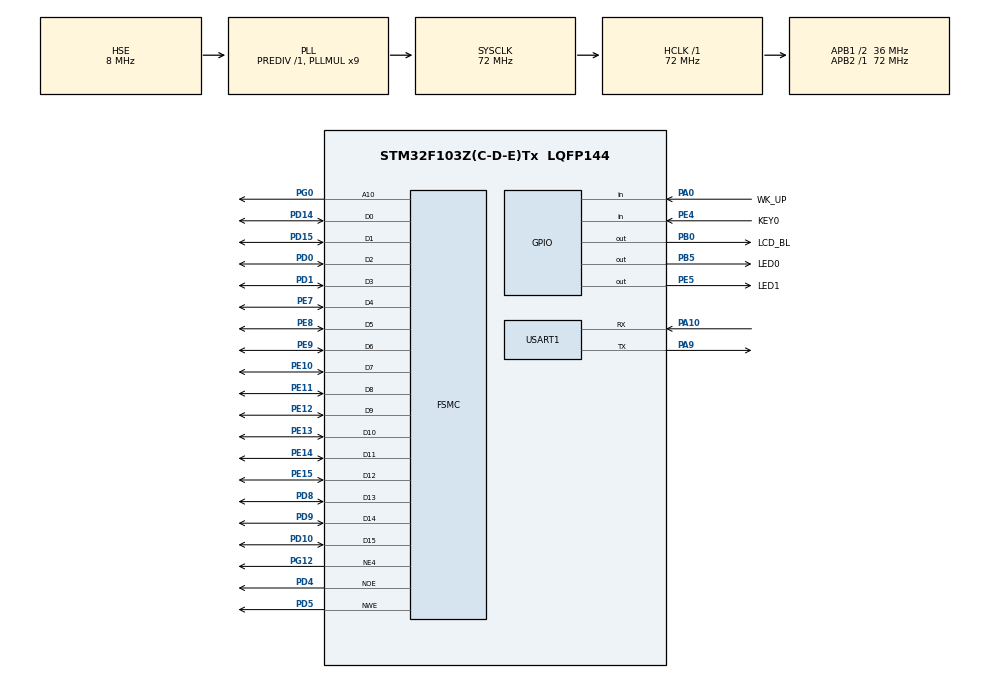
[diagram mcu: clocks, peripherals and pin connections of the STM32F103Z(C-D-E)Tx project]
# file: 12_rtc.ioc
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FSMC.AddressSetupTime1=0
FSMC.DataSetupTime1=15
FSMC.ExtendedAddressSetupTime1=0
FSMC.ExtendedDataSetupTime1=1
FSMC.ExtendedMode1=FSMC_EXTENDED_MODE_ENABLE
Mcu.Family=STM32F1
Mcu.Name=STM32F103Z(C-D-E)Tx
Mcu.Package=LQFP144
NVIC.PriorityGroup=NVIC_PRIORITYGROUP_2
NVIC.RTC_IRQn=true\:2\:2\:true\:false\:true\:true\:true\:true
NVIC.TIM4_IRQn=true\:2\:1\:true\:false\:true\:true\:true\:true
NVIC.USART1_IRQn=true\:2\:2\:true\:false\:true\:true\:true\:true
OSC_IN.Mode=HSE-External-Oscillator
OSC_IN.Signal=RCC_OSC_IN
OSC_OUT.Mode=HSE-External-Oscillator
OSC_OUT.Signal=RCC_OSC_OUT
PA0-WKUP.GPIO_Label=WK_UP
PA0-WKUP.GPIO_PuPd=GPIO_PULLDOWN
PA0-WKUP.Signal=GPIO_Input
PA10.Mode=Asynchronous
PA10.Signal=USART1_RX
PA13.Mode=Serial_Wire
PA13.Signal=SYS_JTMS-SWDIO
PA14.Mode=Serial_Wire
PA14.Signal=SYS_JTCK-SWCLK
PA9.Mode=Asynchronous
PA9.Signal=USART1_TX
PB0.GPIO_Label=LCD_BL
PB0.GPIO_PuPd=GPIO_PULLUP
PB0.GPIO_Speed=GPIO_SPEED_FREQ_HIGH
PB0.PinState=GPIO_PIN_SET
PB0.Signal=GPIO_Output
PB5.GPIO_Label=LED0
PB5.GPIO_PuPd=GPIO_PULLDOWN
PB5.GPIO_Speed=GPIO_SPEED_FREQ_HIGH
PB5.PinState=GPIO_PIN_SET
PB5.Signal=GPIO_Output
PC14-OSC32_IN.Mode=LSE-External-Oscillator
PC14-OSC32_IN.Signal=RCC_OSC32_IN
PC15-OSC32_OUT.Mode=LSE-External-Oscillator
PC15-OSC32_OUT.Signal=RCC_OSC32_OUT
PD0.Signal=FSMC_D2_DA2
PD1.Signal=FSMC_D3_DA3
PD10.Signal=FSMC_D15_DA15
PD14.Signal=FSMC_D0_DA0
PD15.Signal=FSMC_D1_DA1
PD4.Signal=FSMC_NOE
PD5.Signal=FSMC_NWE
PD8.Signal=FSMC_D13_DA13
PD9.Signal=FSMC_D14_DA14
PE10.Signal=FSMC_D7_DA7
PE11.Signal=FSMC_D8_DA8
PE12.Signal=FSMC_D9_DA9
PE13.Signal=FSMC_D10_DA10
PE14.Signal=FSMC_D11_DA11
PE15.Signal=FSMC_D12_DA12
PE4.GPIO_Label=KEY0
PE4.GPIO_PuPd=GPIO_PULLDOWN
PE4.Signal=GPIO_Input
PE5.GPIO_Label=LED1
PE5.GPIO_PuPd=GPIO_PULLDOWN
PE5.GPIO_Speed=GPIO_SPEED_FREQ_HIGH
PE5.PinState=GPIO_PIN_SET
PE5.Signal=GPIO_Output
PE7.Signal=FSMC_D4_DA4
PE8.Signal=FSMC_D5_DA5
PE9.Signal=FSMC_D6_DA6
PG0.Signal=FSMC_A10
PG12.Mode=NorPsramChipSelect4_1
PG12.Signal=FSMC_NE4
ProjectManager.HeapSize=0x200
ProjectManager.StackSize=0x400
ProjectManager.TargetToolchain=STM32CubeIDE
RCC.AHBFreq_Value=72000000
RCC.APB1CLKDivider=RCC_HCLK_DIV2
RCC.APB1Freq_Value=36000000
RCC.APB1TimFreq_Value=72000000
RCC.APB2Freq_Value=72000000
RCC.APB2TimFreq_Value=72000000
RCC.HCLKFreq_Value=72000000
RCC.PLLMUL=RCC_PLL_MUL9
RCC.PLLSourceVirtual=RCC_PLLSOURCE_HSE
RCC.RTCClockSelection=RCC_RTCCLKSOURCE_LSE
RCC.SYSCLKFreq_VALUE=72000000
RCC.SYSCLKSource=RCC_SYSCLKSOURCE_PLLCLK
RCC.USBFreq_Value=72000000
RTC.Date=10
RTC.Hours=9
RTC.Month=RTC_MONTH_APRIL
RTC.WeekDay=RTC_WEEKDAY_WEDNESDAY
RTC.Year=24
SH.FSMC_A10.0=FSMC_A10,A10_1
SH.FSMC_D0_DA0.0=FSMC_D0,16b-d1
SH.FSMC_D10_DA10.0=FSMC_D10,16b-d1
SH.FSMC_D11_DA11.0=FSMC_D11,16b-d1
SH.FSMC_D12_DA12.0=FSMC_D12,16b-d1
SH.FSMC_D13_DA13.0=FSMC_D13,16b-d1
SH.FSMC_D14_DA14.0=FSMC_D14,16b-d1
SH.FSMC_D15_DA15.0=FSMC_D15,16b-d1
SH.FSMC_D1_DA1.0=FSMC_D1,16b-d1
SH.FSMC_D2_DA2.0=FSMC_D2,16b-d1
SH.FSMC_D3_DA3.0=FSMC_D3,16b-d1
SH.FSMC_D4_DA4.0=FSMC_D4,16b-d1
SH.FSMC_D5_DA5.0=FSMC_D5,16b-d1
SH.FSMC_D6_DA6.0=FSMC_D6,16b-d1
SH.FSMC_D7_DA7.0=FSMC_D7,16b-d1
SH.FSMC_D8_DA8.0=FSMC_D8,16b-d1
SH.FSMC_D9_DA9.0=FSMC_D9,16b-d1
SH.FSMC_NOE.0=FSMC_NOE,Lcd1
SH.FSMC_NWE.0=FSMC_NWE,Lcd1
TIM4.AutoReloadPreload=TIM_AUTORELOAD_PRELOAD_ENABLE
TIM4.Period=1000 - 1
TIM4.Prescaler=72 - 1
USART1.VirtualMode=VM_ASYNC
VP_RTC_No_RTC_Output.Mode=RTC_OUT_NO
VP_RTC_VS_RTC_Activate.Mode=RTC_Enabled
VP_RTC_VS_RTC_Calendar.Mode=RTC_Calendar
VP_TIM4_VS_ClockSourceINT.Mode=Internal
board=custom

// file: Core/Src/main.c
/* USER CODE BEGIN Header */
/**
 ****************************************************************************************************
 * @file        main.c
 * @author      ALIENTEK
 * @brief       rtc code
 * @license     Copyright (C) 2012-2024, ALIENTEK
 ****************************************************************************************************
 * @attention
 *
 * platform     : ALIENTEK M144-STM32F103 board
 * website      : www.alientek.com
 * forum        : www.openedv.com/forum.php
 *
 * change logs  :
 * version      data         notes
 * V1.0         20240410     the first version
 *
 ****************************************************************************************************
 */
/* USER CODE END Header */
#include "main.h"
#include "rtc.h"
#include "tim.h"
#include "usart.h"
#include "gpio.h"
#include "fsmc.h"

/* USER CODE BEGIN Includes */
#include "../../BSP/LED/led.h"
#include "../../BSP/KEY/key.h"
#include "../../BSP/LCD/lcd.h"
#include "../../ATK_Middlewares/USMART/usmart.h"
/* USER CODE END Includes */

void SystemClock_Config(void);

/* USER CODE BEGIN 0 */

/* Defines an array of characters to display weeks */
static char* weekdays[] = {"Sunday", "Monday", "Tuesday", "Wednesday",
                           "Thursday", "Friday", "Saterday"};
/**
 * @brief   Displays information about the experiment
 * @param   None
 * @retval  None
 */
void stm32f103ze_show_mesg(void)
{
	/* The serial port outputs the experimental information */
	printf("\n");
	printf("********************************\r\n");
	printf("STM32F103\r\n");
	printf("RTC Test\r\n");
	printf("ATOM@ALIENTEK\r\n");
	printf("********************************\r\n");
	printf("\r\n");
}
/* USER CODE END 0 */

int main(void)
{
  /* USER CODE BEGIN 1 */

    uint8_t tbuf[40];
    uint8_t t = 0;

  /* USER CODE END 1 */

  /* MCU Configuration--------------------------------------------------------*/

  /* Reset of all peripherals, Initializes the Flash interface and the Systick. */
  HAL_Init();

  /* Configure the system clock */
  SystemClock_Config();

  /* Initialize all configured peripherals */
  MX_GPIO_Init();
  MX_USART1_UART_Init();
  MX_FSMC_Init();
  MX_TIM4_Init();
  MX_RTC_Init();
  /* USER CODE BEGIN 2 */
  lcd_init();
  stm32f103ze_show_mesg();

  lcd_show_string(30, 50, 200, 16, 16, "STM32", RED);
  lcd_show_string(30, 70, 200, 16, 16, "RTC TEST", RED);
  lcd_show_string(30, 90, 200, 16, 16, "ATOM@ALIENTEK", RED);

  rtc_set_alarm(2024, 4, 10, 9, 0, 0); /* Set an alarm */

  /* USER CODE END 2 */

  /* Infinite loop */
  while (1)
  {

	  t++;

	  if ((t % 10) == 0)               	/* The display data is updated every 100ms */
	  {
		  rtc_get_time();
          sprintf((char *)tbuf, "Time:%02d:%02d:%02d", calendar.hour, calendar.min, calendar.sec);
          printf("Time:%02d:%02d:%02d\r\n", calendar.hour, calendar.min, calendar.sec);
          lcd_show_string(30, 120, 210, 16, 16, (char *)tbuf,BLUE);
          sprintf((char *)tbuf, "Date:%04d-%02d-%02d", calendar.year, calendar.month, calendar.date);
          printf("Date:%02d-%02d-%02d\r\n",  calendar.year,  calendar.month,  calendar.date);
          lcd_show_string(30, 140, 210, 16, 16, (char *)tbuf,BLUE);
          sprintf((char *)tbuf, "Week:%s", weekdays[calendar.week]);
          lcd_show_string(30, 160, 210, 16, 16, (char *)tbuf,BLUE);
	  }

	  if ((t % 20) == 0)
	  {
		  LED0_TOGGLE();              	/* Every 200ms, flip the LED */
	  }

	  HAL_Delay(10);

  }
}

void SystemClock_Config(void)
{
  RCC_OscInitTypeDef RCC_OscInitStruct = {0};
  RCC_ClkInitTypeDef RCC_ClkInitStruct = {0};
  RCC_PeriphCLKInitTypeDef PeriphClkInit = {0};

  /** Initializes the RCC Oscillators according to the specified parameters
  * in the RCC_OscInitTypeDef structure.
  */
  RCC_OscInitStruct.OscillatorType = RCC_OSCILLATORTYPE_HSE|RCC_OSCILLATORTYPE_LSE;
  RCC_OscInitStruct.HSEState = RCC_HSE_ON;
  RCC_OscInitStruct.HSEPredivValue = RCC_HSE_PREDIV_DIV1;
  RCC_OscInitStruct.LSEState = RCC_LSE_ON;
  RCC_OscInitStruct.HSIState = RCC_HSI_ON;
  RCC_OscInitStruct.PLL.PLLState = RCC_PLL_ON;
  RCC_OscInitStruct.PLL.PLLSource = RCC_PLLSOURCE_HSE;
  RCC_OscInitStruct.PLL.PLLMUL = RCC_PLL_MUL9;
  if (HAL_RCC_OscConfig(&RCC_OscInitStruct) != HAL_OK)
  {
    Error_Handler();
  }

  /** Initializes the CPU, AHB and APB buses clocks
  */
  RCC_ClkInitStruct.ClockType = RCC_CLOCKTYPE_HCLK|RCC_CLOCKTYPE_SYSCLK
                              |RCC_CLOCKTYPE_PCLK1|RCC_CLOCKTYPE_PCLK2;
  RCC_ClkInitStruct.SYSCLKSource = RCC_SYSCLKSOURCE_PLLCLK;
  RCC_ClkInitStruct.AHBCLKDivider = RCC_SYSCLK_DIV1;
  RCC_ClkInitStruct.APB1CLKDivider = RCC_HCLK_DIV2;
  RCC_ClkInitStruct.APB2CLKDivider = RCC_HCLK_DIV1;

  if (HAL_RCC_ClockConfig(&RCC_ClkInitStruct, FLASH_LATENCY_2) != HAL_OK)
  {
    Error_Handler();
  }
  PeriphClkInit.PeriphClockSelection = RCC_PERIPHCLK_RTC;
  PeriphClkInit.RTCClockSelection = RCC_RTCCLKSOURCE_LSE;
  if (HAL_RCCEx_PeriphCLKConfig(&PeriphClkInit) != HAL_OK)
  {
    Error_Handler();
  }
}

void Error_Handler(void)
{
  __disable_irq();
  while (1)
  {
  }
}
